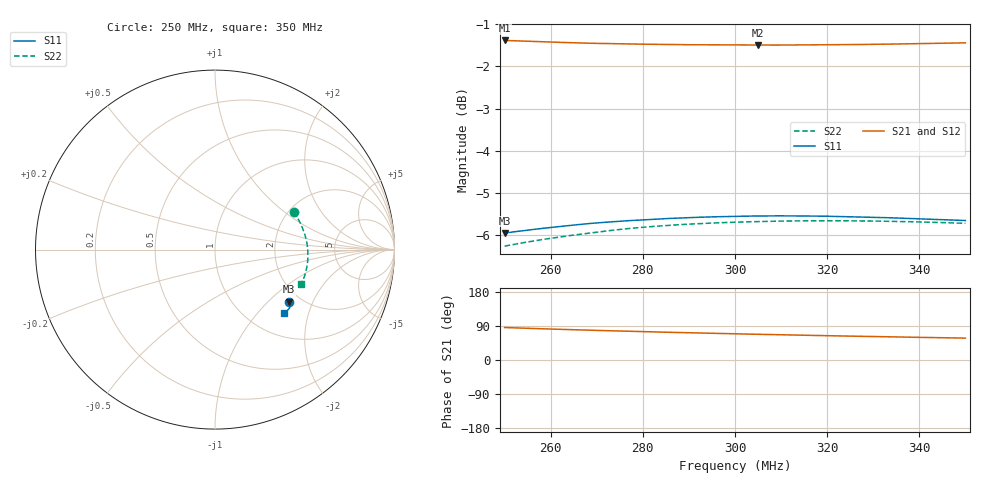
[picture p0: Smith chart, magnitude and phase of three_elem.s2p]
! Created Thu Nov 16 15:11:48 2023
# hz S ma R 50
! 2 Port Network Data from SP1.SP block
! freq  magS11  angS11  magS21  angS21  magS12  angS12  magS22  angS22
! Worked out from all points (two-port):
!   201 points, 250 MHz to 350 MHz, reference 50 ohm
!   highest |S21| = -1.38 dB at 250 MHz (marker M1); lowest = -1.5 dB at 305 MHz (marker M2)
!   |S21| within 3 dB of the highest: start of sweep to end of sweep
!   lowest |S11| = -6.0 dB at 250 MHz (marker M3), VSWR 3.03, Z = 86.5 - j67.4 ohm
!   |S11| at or under -10 dB: nowhere
!   |S22| runs from -6.3 to -5.7 dB; largest |S21 - S12| = 0.0072
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2.5e8  0.5036 -35.3  0.8528 85.7  0.8538 86.1  0.4859 25.6
2.52e8  0.5054 -35.3  0.8521 84.8  0.8529 85.2  0.4883 24.0
2.54e8  0.507 -35.3  0.8513 84.0  0.852 84.4  0.4905 22.4
2.58e8  0.51 -35.3  0.8499 82.4  0.8504 82.8  0.4946 19.4
2.62e8  0.5128 -35.4  0.8484 80.9  0.8488 81.3  0.4984 16.5
2.67e8  0.5161 -35.6  0.8468 79.1  0.847 79.5  0.5026 13.2
2.71e8  0.5183 -35.9  0.8458 77.8  0.8458 78.2  0.5057 10.8
2.75e8  0.5202 -36.1  0.8449 76.4  0.8449 76.8  0.5087 8.4
2.79e8  0.5219 -36.4  0.8443 75.2  0.8441 75.6  0.5112 6.2
2.835e8  0.5235 -36.7  0.8437 73.8  0.8434 74.2  0.5135 3.8
2.87e8  0.5246 -37.0  0.8432 72.7  0.8428 73.1  0.515 2.0
2.915e8  0.5257 -37.3  0.8428 71.4  0.8423 71.8  0.5166 -0.2
2.955e8  0.5265 -37.6  0.8425 70.3  0.8418 70.7  0.5178 -2.0
3e8  0.5272 -38.0  0.8422 69.1  0.8414 69.5  0.5189 -4.0
3.05e8  0.5277 -38.4  0.8421 67.8  0.8411 68.2  0.5198 -6.1
3.11e8  0.5279 -38.9  0.8422 66.3  0.841 66.7  0.5205 -8.5
3.17e8  0.5276 -39.5  0.8425 64.8  0.8411 65.2  0.5209 -10.8
3.21e8  0.5273 -39.9  0.8428 63.9  0.8414 64.3  0.5209 -12.3
3.255e8  0.5266 -40.3  0.8433 62.9  0.8417 63.3  0.5208 -13.9
3.335e8  0.5252 -41.1  0.8444 61.1  0.8427 61.6  0.5201 -16.5
3.41e8  0.5235 -41.8  0.8456 59.6  0.8439 60.0  0.519 -18.9
3.5e8  0.5212 -42.7  0.8473 57.8  0.8456 58.2  0.5172 -21.6
